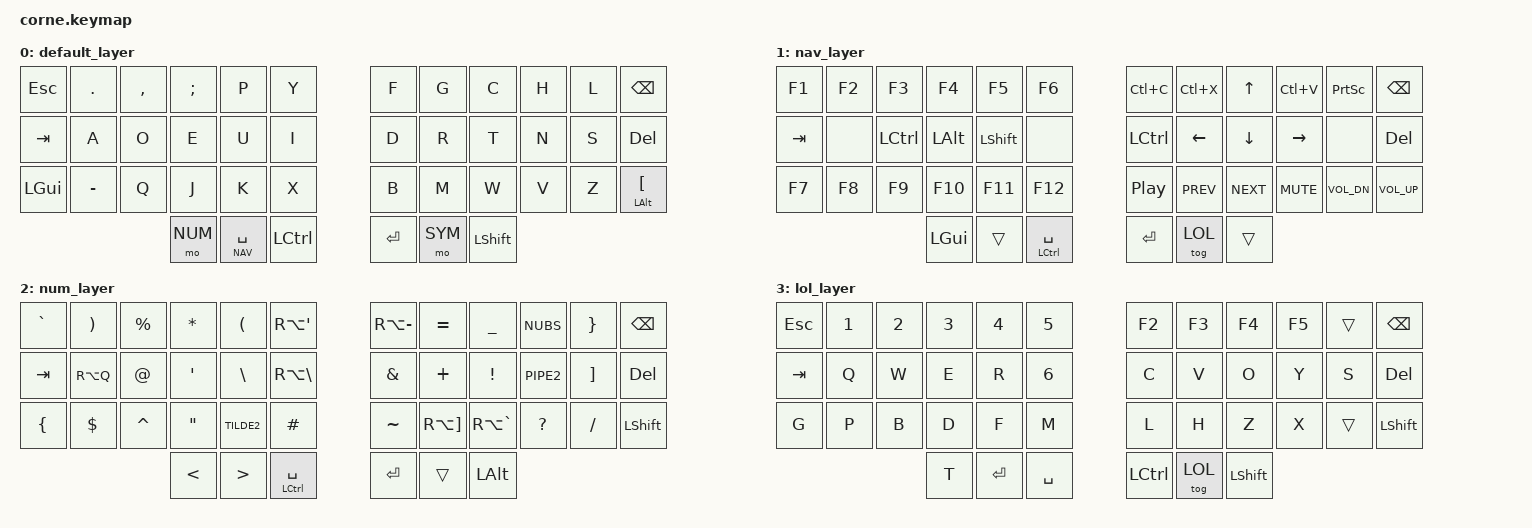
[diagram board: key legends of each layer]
/*
 * Copyright (c) 2020 The ZMK Contributors
 *
 * SPDX-License-Identifier: MIT
 */

#include <behaviors.dtsi>
#include <dt-bindings/zmk/keys.h>
#include <dt-bindings/zmk/bt.h>
#include <dt-bindings/led/led.h>
#include <dt-bindings/zmk/rgb.h>

#define DVO     0
#define NAV     1
#define NUM     2   
#define SYM     3
#define LOL     4


/ {
        keymap {
                compatible = "zmk,keymap";

                default_layer {
// -----------------------------------------------------------------------------------------
// | ESC |  .  |  ,  |  Ñ  |  P  |  Y  |   |  F  |  G   |  C  |  H  |  L  | BKSP |
// | TAB |  A  |  O  |  E  |  U  |  I  |   |  D  |  R   |  T  |  N  |  S  | SUP  |
// | GUI |  '  |  Q  |  J  |  K  |  X  |   |  B  |  M   |  W  |  V  |  Z  | ´ ALT  |
//                    | NUM | SPACE/NAV | CTRL |   | ENT | SYM  | SHIFT/LOCK |
                        bindings = <

   &kp ESC   &kp DOT    &kp COMMA  &kp SEMI  &kp P &kp Y     &kp F  &kp G   &kp C   &kp H    &kp L    &kp BSPC
   &kp TAB   &kp A      &kp O      &kp E     &kp U &kp I     &kp D  &kp R   &kp T   &kp N    &kp S    &kp DEL
   &kp LGUI  &kp MINUS  &kp Q      &kp J     &kp K &kp X     &kp B  &kp M   &kp W   &kp V    &kp Z    &mt LALT LBKT
                  &mo NUM  &lt NAV SPACE  &kp LCTRL              &kp RET  &mo SYM  &kp LSHIFT
                        >;
                };
                nav_layer {
// -----------------------------------------------------------------------------------------
// | F1  |  F2 |  F3    |  F4   |  F5     |  F6  |   |  COPY  |  CUT     |  UP    |  PASTE  |  IMPPAGE  | BKSP |
// | TAB |     |  CTRL  |  ALT  |  SHIFT  |      |   |  CTRL  |  LEFT    |  DOWN  |  RIGHT  |           | SUP  |
// | F7  |  F8 |  F9    |  F10  |  F11    |  F12 |   |  PAUS  |  ANTER   |  PROX  |   MUTE  |  -SON     | +SON  |
//                      | GUI   |     | SPACE/CTRL |   | ENT |           |  LOL   |
                        bindings = <
   &kp F1   &kp F2    &kp F3     &kp F4    &kp F5     &kp F6        &kp LC(C)  &kp LC(X)   &kp UP       &kp LC(V)   &kp PSCRN    &kp BSPC
   &kp TAB  &none     &kp LCTRL  &kp LALT  &kp LSHIFT &none         &kp LCTRL  &kp LEFT    &kp DOWN     &kp RIGHT   &none        &kp DEL
   &kp F7   &kp F8    &kp F9     &kp F10   &kp F11    &kp F12       &kp C_PP   &kp C_PREV  &kp C_NEXT   &kp C_MUTE  &kp C_VOL_DN &kp C_VOL_UP
                  &kp LGUI  &trans  &mt LCTRL SPACE                         &kp RET &tog LOL &trans
                        >;
                };
                num_layer {
// -----------------------------------------------------------------------------------------
// |  TAB |  1  |  2  |  3  |  4  |  5  |   |  6  |  7  |  8  |  9  |  0  | BKSP |
// | BTCLR| BT1 | BT2 | BT3 | BT4 | BT5 |   | LFT | DWN |  UP | RGT |     |      |
// | SHFT |     |     |     |     |     |   |     |     |     |     |     |      |
//                    | GUI |     | SPC |   | ENT |     | ALT |
                        bindings = <
   &kp GRAVE  &kp RPAR   &kp PRCNT  &kp ASTRK &kp LPAR    &kp RA(APOS)         &kp RA(MINUS)  &kp EQUAL     &kp UNDER         &kp NUBS   &kp RBRC   &kp BSPC
   &kp TAB   &kp RA(Q)  &kp AT     &kp SQT   &kp BSLH    &kp RA(BSLH)         &kp AMPS       &kp PLUS      &kp EXCL          &kp PIPE2  &kp RBKT   &kp DEL
   &kp LBRC  &kp DLLR   &kp CARET  &kp DQT   &kp TILDE2  &kp HASH             &kp TILDE      &kp RA(RBKT)  &kp RA(GRAVE)     &kp QMARK  &kp FSLH   &kp LSHIFT
                   &kp LT  &kp GT &mt LCTRL SPACE                                  &kp RET &trans &kp LALT
                        >;
                };
                lol_layer {
// -----------------------------------------------------------------------------------------
// |  ESC  |  1  | 2   |  3   |   4  |  5  |     |  F2 |  F3 |  F4 |  F5 |     |  BKSP |
// |  TAB  |  Q  |  W  |  E   |   R  |  6  |     |  C  |  V  |  O  |  Y  |  S  |  SUP  |
// |   G   |  P  |  B  |  D   |   F  |  M  |     |  L  |  H  |  Z  |  X  |     | SHIFT |
//                      |  T  |   ENT  | SPACE |   | CTRL |  DVORAK   |  SHIFT   |
                        bindings = <
   &kp ESC   &kp N1  &kp N2  &kp N3  &kp N4  &kp N5        &kp F2    &kp F3  &kp F4   &kp F5  &trans  &kp BSPC
   &kp TAB   &kp Q   &kp W   &kp E   &kp R   &kp N6        &kp C     &kp V   &kp O    &kp Y   &kp S   &kp DEL
   &kp G     &kp P   &kp B   &kp D   &kp F   &kp M         &kp L     &kp H   &kp Z    &kp X   &trans  &kp LSHIFT
                  &kp T  &kp RET &kp SPACE                    &kp LCTRL &tog LOL &kp LSHIFT
                        >;
                };
        };
};

&spi1 {
	compatible = "nordic,nrf-spim";
	/* Cannot be used together with i2c0. */
	status = "okay";
	mosi-pin = <6>;
	// Unused pins, needed for SPI definition, but not used by the ws2812 driver itself.
	sck-pin = <5>;
	miso-pin = <7>;

	led_strip: ws2812@0 {
		compatible = "worldsemi,ws2812-spi";
		label = "SK6812mini";

		/* SPI */
		reg = <0>; /* ignored, but necessary for SPI bindings */
		spi-max-frequency = <4000000>;

		/* WS2812 */
		chain-length = <27>; /* There are per-key RGB, but the first 6 are underglow */
		spi-one-frame = <0x70>;
		spi-zero-frame = <0x40>;

		color-mapping = <LED_COLOR_ID_GREEN LED_COLOR_ID_RED LED_COLOR_ID_BLUE>;
	};
};

/ {
	chosen {
		zmk,underglow = &led_strip;
	};
};
